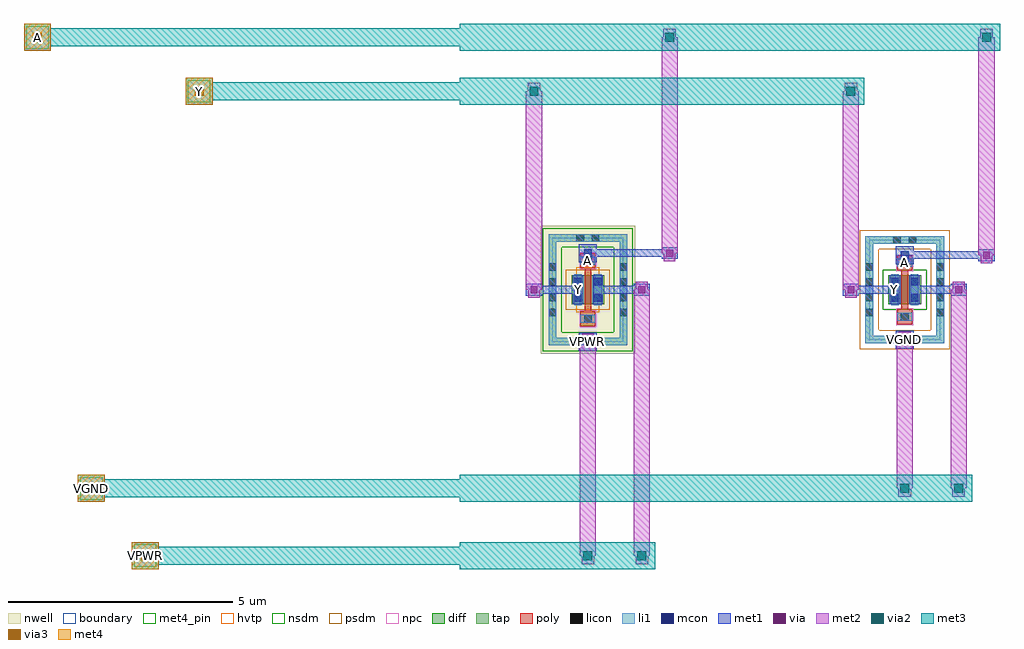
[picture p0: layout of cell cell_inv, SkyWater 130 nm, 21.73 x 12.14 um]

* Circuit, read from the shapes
.subckt cell_inv A VGND VPWR Y
XM1 VGND A Y VGND sky130_fd_pr__nfet_01v8 w=0.65 l=0.15
XM2 VPWR A Y VPWR sky130_fd_pr__pfet_01v8_hvt w=0.65 l=0.15
.ends

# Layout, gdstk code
import gdstk
lib = gdstk.Library(unit=1e-6, precision=1e-09)
def R(c, l, rs):  # rectangles x0, y0, x1, y1
    for r in rs: c.add(gdstk.rectangle(r[:2], r[2:], *l))
def A(c, l, x, y, w, h, nx, ny, dx, dy):  # array of equal rectangles
    R(c, l, [(x+i*dx, y+j*dy, x+i*dx+w, y+j*dy+h) for i in range(nx) for j in range(ny)])
nwell = (64, 20)
diff = (65, 20)
tap = (65, 44)
poly = (66, 20)
licon = (66, 44)
li1 = (67, 20)
mcon = (67, 44)
met1 = (68, 20)
via = (68, 44)
met2 = (69, 20)
via2 = (69, 44)
met3 = (70, 20)
via3 = (70, 44)
met4_pin = (71, 16)
met4 = (71, 20)
hvtp = (78, 44)
nsdm = (93, 44)
psdm = (94, 20)
npc = (95, 20)
boundary = (235, 4)

cell_inv = lib.new_cell('cell_inv')
R(cell_inv, nwell, [(21.5,14.8,23.61,17.64)])
R(cell_inv, diff, [(22.19,15.895,22.92,16.545), (29.245,15.895,29.975,16.545)])
R(cell_inv, tap, [(21.68,14.98,23.43,15.15), (28.735,15.025,30.485,15.195), (21.68,15.15,21.85,17.29), (23.26,15.15,23.43,17.29), (28.735,15.195,28.905,17.245), (30.315,15.195,30.485,17.245), (28.735,17.245,30.485,17.415), (21.68,17.29,23.43,17.46)])
R(cell_inv, poly, [(22.39,15.41,22.72,15.74), (29.445,15.455,29.775,15.785), (22.48,15.74,22.63,16.7), (29.535,15.785,29.685,16.655), (29.445,16.655,29.775,16.985), (22.39,16.7,22.72,17.03)])
A(cell_inv, licon, 21.68, 15.625, 0.17, 0.17, 1, 4, 0, 0.34)
A(cell_inv, licon, 23.26, 15.625, 0.17, 0.17, 1, 4, 0, 0.34)
A(cell_inv, licon, 28.735, 15.625, 0.17, 0.17, 1, 4, 0, 0.34)
A(cell_inv, licon, 30.315, 15.625, 0.17, 0.17, 1, 4, 0, 0.34)
R(cell_inv, licon, [(22.3,14.98,22.47,15.15), (22.64,14.98,22.81,15.15), (29.355,15.025,29.525,15.195), (29.695,15.025,29.865,15.195), (22.47,15.49,22.64,15.66), (29.525,15.535,29.695,15.705), (22.25,15.965,22.42,16.135), (22.69,15.965,22.86,16.135), (29.305,15.965,29.475,16.135), (29.745,15.965,29.915,16.135), (22.25,16.305,22.42,16.475), (22.69,16.305,22.86,16.475), (29.305,16.305,29.475,16.475), (29.745,16.305,29.915,16.475), (29.525,16.735,29.695,16.905), (22.47,16.78,22.64,16.95), (29.355,17.245,29.525,17.415), (29.695,17.245,29.865,17.415), (22.3,17.29,22.47,17.46), (22.64,17.29,22.81,17.46)])
R(cell_inv, li1, [(21.68,14.98,23.43,15.15), (28.735,15.025,30.485,15.195), (21.68,15.15,21.85,17.29), (23.26,15.15,23.43,17.29), (28.735,15.195,28.905,17.245), (30.315,15.195,30.485,17.245), (22.39,15.49,22.72,15.66), (29.445,15.535,29.775,15.705), (22.25,15.875,22.42,16.565), (22.69,15.875,22.86,16.565), (29.305,15.875,29.475,16.565), (29.745,15.875,29.915,16.565), (29.445,16.735,29.775,16.905), (29.525,16.735,29.695,17.075), (22.39,16.78,22.72,16.95), (22.47,16.78,22.64,17.12), (28.735,17.245,30.485,17.415), (21.68,17.29,23.43,17.46)])
R(cell_inv, mcon, [(22.47,14.98,22.64,15.15), (29.525,15.025,29.695,15.195), (22.25,15.955,22.42,16.125), (22.69,15.955,22.86,16.125), (29.305,15.955,29.475,16.125), (29.745,15.955,29.915,16.125), (22.25,16.315,22.42,16.485), (22.69,16.315,22.86,16.485), (29.305,16.315,29.475,16.485), (29.745,16.315,29.915,16.485), (29.525,16.905,29.695,17.075), (22.47,16.95,22.64,17.12)])
R(cell_inv, met1, [(22.355,14.865,22.755,15.265), (29.41,14.91,29.81,15.31), (22.375,14.935,22.735,15.195), (29.43,14.98,29.79,15.24), (22.22,15.895,22.45,16.545), (22.66,15.895,22.89,16.545), (29.275,15.895,29.505,16.545), (29.715,15.895,29.945,16.545), (21.175,16.09,21.535,16.35), (23.575,16.09,23.935,16.35), (28.23,16.09,28.59,16.35), (30.63,16.09,30.99,16.35), (21.355,16.135,22.335,16.305), (22.775,16.135,23.755,16.305), (28.41,16.135,29.39,16.305), (29.83,16.135,30.81,16.305), (29.41,16.79,29.81,17.19), (22.355,16.835,22.755,17.235), (31.25,16.86,31.61,17.12), (24.195,16.905,24.555,17.165), (29.61,16.905,31.43,17.075), (22.555,16.95,24.375,17.12)])
R(cell_inv, via, [(22.48,14.99,22.63,15.14), (29.535,15.035,29.685,15.185), (21.28,16.145,21.43,16.295), (23.68,16.145,23.83,16.295), (28.335,16.145,28.485,16.295), (30.735,16.145,30.885,16.295), (31.355,16.915,31.505,17.065), (24.3,16.96,24.45,17.11)])
R(cell_inv, met2, [(22.415,10.11,22.695,10.49), (23.615,10.11,23.895,10.49), (22.375,10.3,22.735,15.065), (23.575,10.3,23.935,16.22), (29.47,11.61,29.75,11.99), (30.67,11.61,30.95,11.99), (29.43,11.8,29.79,15.11), (30.63,11.8,30.99,16.22), (22.425,14.885,22.685,15.245), (29.48,14.93,29.74,15.29), (21.225,16.04,21.485,16.4), (23.625,16.04,23.885,16.4), (28.28,16.04,28.54,16.4), (30.68,16.04,30.94,16.4), (21.175,16.22,21.535,20.64), (28.23,16.22,28.59,20.64), (31.3,16.81,31.56,17.17), (24.245,16.855,24.505,17.215), (31.25,16.99,31.61,21.84), (24.195,17.035,24.555,21.84), (21.215,20.45,21.495,20.83), (28.27,20.45,28.55,20.83), (24.235,21.65,24.515,22.03), (31.29,21.65,31.57,22.03)])
R(cell_inv, via2, [(22.455,10.2,22.655,10.4), (23.655,10.2,23.855,10.4), (29.51,11.7,29.71,11.9), (30.71,11.7,30.91,11.9), (21.255,20.54,21.455,20.74), (28.31,20.54,28.51,20.74), (24.275,21.74,24.475,21.94), (31.33,21.74,31.53,21.94)])
R(cell_inv, met3, [(12.4,10,13,10.6), (19.7,10,24.055,10.6), (22.305,10.05,22.805,10.55), (23.505,10.05,24.005,10.55), (11.2,11.5,11.8,12.1), (19.7,11.5,31.11,12.1), (29.36,11.55,29.86,12.05), (30.56,11.55,31.06,12.05), (13.6,20.34,14.2,20.94), (19.7,20.34,28.71,20.94), (21.105,20.39,21.605,20.89), (28.16,20.39,28.66,20.89), (10,21.54,10.6,22.14), (19.7,21.54,31.73,22.14), (24.125,21.59,24.625,22.09), (31.18,21.59,31.68,22.09)])
R(cell_inv, via3, [(12.6,10.2,12.8,10.4), (11.4,11.7,11.6,11.9), (13.8,20.54,14,20.74), (10.2,21.74,10.4,21.94)])
R(cell_inv, met4_pin, [(12.45,10.05,12.95,10.55), (11.25,11.55,11.75,12.05), (13.65,20.39,14.15,20.89), (10.05,21.59,10.55,22.09)])
R(cell_inv, met4, [(12.4,10,13,10.6), (12.45,10,12.95,10.6), (11.2,11.5,11.8,12.1), (11.25,11.5,11.75,12.1), (13.6,20.34,14.2,20.94), (13.65,20.34,14.15,20.94), (10,21.54,10.6,22.14), (10.05,21.54,10.55,22.14)])
R(cell_inv, hvtp, [(22.3,15.715,22.81,16.725)])
R(cell_inv, nsdm, [(21.555,14.855,23.555,15.275), (21.555,15.275,21.975,17.165), (23.135,15.275,23.555,17.165), (29.12,15.77,30.1,16.67), (21.555,17.165,23.555,17.585)])
R(cell_inv, psdm, [(28.61,14.9,30.61,15.32), (28.61,15.32,29.03,17.12), (30.19,15.32,30.61,17.12), (22.065,15.77,23.045,16.67), (28.61,17.12,30.61,17.54)])
R(cell_inv, npc, [(22.37,15.39,22.74,15.76), (29.425,15.435,29.795,15.805), (29.425,16.635,29.795,17.005), (22.37,16.68,22.74,17.05)])
R(cell_inv, boundary, [(21.765,15.065,23.345,17.375), (28.82,15.11,30.4,17.33)])
cell_inv.add(gdstk.FlexPath([(10.3,21.84),(19.7,21.84)], 0.4, ends="flush", simple_path=True, layer=70, datatype=20))  # met3
cell_inv.add(gdstk.FlexPath([(11.5,11.8),(19.7,11.8)], 0.4, ends="flush", simple_path=True, layer=70, datatype=20))  # met3
cell_inv.add(gdstk.FlexPath([(12.7,10.3),(19.7,10.3)], 0.4, ends="flush", simple_path=True, layer=70, datatype=20))  # met3
cell_inv.add(gdstk.FlexPath([(13.9,20.64),(19.7,20.64)], 0.4, ends="flush", simple_path=True, layer=70, datatype=20))  # met3
cell_inv.add(gdstk.Label('VPWR', (22.555,15.065), layer=67, texttype=5))
cell_inv.add(gdstk.Label('Y', (22.335,16.22), layer=67, texttype=5))
cell_inv.add(gdstk.Label('VPWR', (22.775,16.22), layer=67, texttype=5))
cell_inv.add(gdstk.Label('A', (22.555,16.865), layer=67, texttype=5))
cell_inv.add(gdstk.Label('VGND', (29.61,15.11), layer=67, texttype=5))
cell_inv.add(gdstk.Label('Y', (29.39,16.22), layer=67, texttype=5))
cell_inv.add(gdstk.Label('VGND', (29.83,16.22), layer=67, texttype=5))
cell_inv.add(gdstk.Label('A', (29.61,16.82), layer=67, texttype=5))
cell_inv.add(gdstk.Label('A', (10.3,21.84), layer=71, texttype=5))
cell_inv.add(gdstk.Label('VGND', (11.5,11.8), layer=71, texttype=5))
cell_inv.add(gdstk.Label('VPWR', (12.7,10.3), layer=71, texttype=5))
cell_inv.add(gdstk.Label('Y', (13.9,20.64), layer=71, texttype=5))

lib.write_gds('cell_inv.gds')
